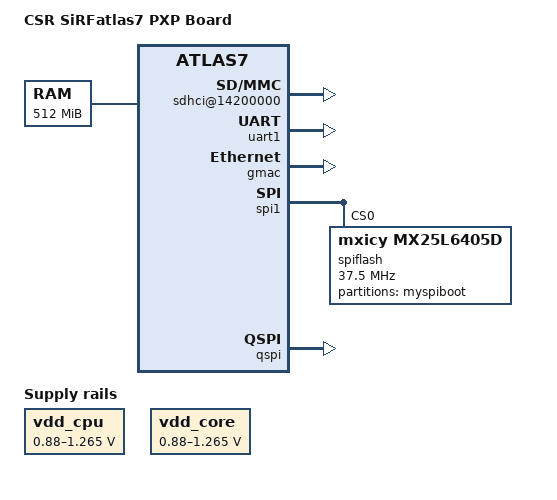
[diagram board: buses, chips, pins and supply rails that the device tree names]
/*
 * DTS file for CSR SiRFatlas7 Evaluation Board
 *
 * Copyright (c) 2015-2016, The Linux Foundation. All rights reserved.
 *
 * This program is free software; you can redistribute it and/or modify
 * it under the terms of the GNU General Public License version 2 and
 * only version 2 as published by the Free Software Foundation.
 *
 * This program is distributed in the hope that it will be useful,
 * but WITHOUT ANY WARRANTY; without even the implied warranty of
 * MERCHANTABILITY or FITNESS FOR A PARTICULAR PURPOSE.  See the
 * GNU General Public License for more details.
 */

/dts-v1/;

/include/ "atlas7.dtsi"


#include <dt-bindings/input/input.h>

/ {
	model = "CSR SiRFatlas7 PXP Board";
	compatible = "sirf,atlas7-pxp", "sirf,atlas7-cb", "sirf,atlas7";

	chosen {
		/* bootargs = "co
				initrd=0x43008000,0x500000"; */
		bootargs = "console=ttySiRF1,115200 earlyprintk";
	};

	memory {
		device_type = "memory";
		reg = <0x40000000 0x20000000>; /* 512M for PXP */
	};

	regulators {
		compatible = "simple-bus";
		#address-cells = <1>;
		#size-cells = <0>;

		vdd_cpu: pwm_regulator  {
			compatible = "pwm-regulator";
			pinctrl-names = "default";
			pinctrl-0 = <&pw_pwm_cpu_vol_pmx0>;
			pwms = <&pwm 2 60>;
			voltage-table = <1265000 0>,
				<1237542 4>,
				<1210038 8>,
				<1182534 12>,
				<1155030 16>,
				<1127526 20>,
				<1100022 24>,
				<1072518 28>,
				<1045014 32>,
				<1017510 36>,
				<990006 40>,
				<962502 44>,
				<934998 48>,
				<907494 52>,
				<879990 56>;
			regulator-min-microvolt = <879990>;
			regulator-max-microvolt = <1265000>;
			regulator-name = "vdd_cpu";
		};

		vdd_core: vdd_core {
			compatible = "pwm-regulator";
			pinctrl-names = "default";
			pinctrl-0 = <&pw_cko0_pmx0>;
			pwms = <&pwm 4 60>;
			voltage-table = <1265000 0>,
				<1237542 4>,
				<1210038 8>,
				<1182534 12>,
				<1155030 16>,
				<1127526 20>,
				<1100022 24>,
				<1072518 28>,
				<1045014 32>,
				<1017510 36>,
				<990006 40>,
				<962502 44>,
				<934998 48>,
				<907494 52>,
				<879990 56>;
			regulator-min-microvolt = <879990>;
			regulator-max-microvolt = <1265000>;
			regulator-name = "vdd_core";
		};

	};

	reserved-memory {
		#address-cells = <1>;
		#size-cells = <1>;
		ranges;

		/* global region for contiguous allocations */
		linux,cma {
			compatible = "shared-dma-pool";
			reusable;
			alloc-ranges = <0x49C00000 0x6000000>;
			size = <0x6000000>;
			alignment = <0x2000>;
			linux,cma-default;
		};

		ipc_mem0: ns_m3_mem@4fd00000 {
			compatible = "sirf,reserved-memory";
			reg = <0x4FD00000 0x10000>;
		};

		ipc_mem1: ns_kal_mem@4fd10000 {
			compatible = "sirf,reserved-memory";
			reg = <0x4FD10000 0x10000>;
		};

		nanddisk_reserved: nanddisk@46000000 {
			reg = <0x46000000 0x200000>;
			no-map;
		};

		jpeg_reserved: jpeg@57000000 {
			reg = <0x57000000 0x1800000>;
			no-map;
		};

		multimedia_reserved: multimedia@58800000 {
			reg = <0x58800000 0x2400000>;
			no-map;
		};

		uboot_reserved: uboot@5b800000 {
			reg = <0x5b800000 0x200000>;
			no-map;
		};

		cm3_reserved: cm3@4fe00000 {
			reg = <0x4fe00000 0x100000>;
			no-map;
		};
	};

	noc {
		gpum {
			sdr@0x13010000 {
				status = "disabled";
			};
		};
		audiom {
			timer@10dc0000 {
				status = "okay";
			};

			timerb@10dc8000 {
				status = "disabled";
			};

			usp2: usp@10d40000 {
			       status = "disabled";
			       compatible = "sirf,atlas7-usp-spi";
			       pinctrl-0 = <&audio_uart2_urfs_pmx0
					&audio_uart2_urxd_pmx0
					&audio_uart2_usclk_pmx0
					&audio_uart2_utfs_pmx0
					&audio_uart2_utxd_pmx0>;
			       pinctrl-names = "default";
			       fifosize = <512>;
				uspspiflash: mxicy@0{
					status = "okay";
					compatible = "mxicy,mx25l6405d";
					reg = <0>;
					spi-max-frequency = <37500000>;
					spi-cpha;
					spi-cpol;
					#address-cells = <1>;
					#size-cells = <1>;
					partitions@0 {
						label = "myspiboot";
						reg = <0x0 0x800000>;
					};
				};
			};

			pulsec@10d90000 {
				status = "disabled";
			};
			adc: adc@10d80000 {
				status = "disabled";
			};
			i2s: i2s@10d02000 {
				status = "disabled";
			};
			vip0@10db0000 {
				status = "disabled";
			};
			cvd@10db2000 {
				status = "disabled";
			};

		};

		mediam {
			nand@17050000 {
				memory-region = <&nanddisk_reserved>;
			};

			multimedia@15000000 {
				memory-region = <&multimedia_reserved>;
			};

			jpeg@17000000 {
				memory-region = <&jpeg_reserved>;
			};

		};

		vdifm {
			sdhci@14200000 {
				status = "okay";
				pinctrl-names = "default";
				pinctrl-0 = <&sd2_basic_pmx
						&sd2_cdb_pmx0
						&sd2_wpb_pmx0>;
			};

		};

		gnssm {
			uart1: uart@18020000 {
				status = "okay";
			};

			uart0: uart@18010000 {
				status = "disabled";
				pinctrl-0 = <&uart0_pmx>;
				pinctrl-names = "default";
				sirf,uart-has-rtscts;
			};

			uart2: uart@18030000 {
				status = "disabled";
				pinctrl-0 = <&uart2_cts_pmx0
						&uart2_rts_pmx0
						&uart2_rxd_pmx0
						&uart2_txd_pmx0>;
				pinctrl-names = "default";
			};

			uart3: uart@18040000 {
				status = "disabled";
			};

			uart5: uart@18060000 {
				status = "disabled";
			};

			gmac: eth@180b0000 {
				status = "okay";
				pinctrl-names = "default";
				pinctrl-0 = <&rg_eth_mac_pmx
					&rg_gmac_phy_intr_n_pmx
					&rg_rgmii_mac_pmx>;
			};

			spi1: spi@18200000 {
				status = "okay";
				compatible = "sirf,prima2-spi-slave";
				pinctrl-0 = <&sp1_spi_pmx>;
				pinctrl-names = "default";
				spiflash: mxicy@0{
					compatible = "mxicy,mx25l6405d";
					reg = <0>;
					spi-max-frequency = <37500000>;
					spi-cpha;
					spi-cpol;
					#address-cells = <1>;
					#size-cells = <1>;
					partitions@0 {
						label = "myspiboot";
						reg = <0x0 0x800000>;
					};
			       };
			};

		};

		rtcm {
			qspi: flash@188B0000 {
				status = "okay";
				pinctrl-names = "default";
				pinctrl-0 = <&sp0_qspi_pmx>;
				clock-rate = <20000000>;        /* 20MHz */
			};
			rtc-iobg@18840000 {
				pwrc@3000 {
					atlas7-gps {
					   status = "okay";
					   pinctrl-names = "default";
					   pinctrl-0 = <&gn_trg_spi_pmx0
						&gn_trg_pmx0>;
					};
				};
			};
		};

		ipc@13240000 {
			ns_m3_rproc@0 {
				memory-region = <&ipc_mem0>;
				status = "okay";
			};

			ns_m3_rproc@1 {
				status = "disabled";
			};

			ns_kal_rproc@0 {
				status = "disabled";
			};

			ns_kal_rproc@1 {
				status = "disabled";
			};
		};

		disp-iobg {

			lcd0@13100000 {
				status = "disabled";
			};
			vpp0@13110000 {
				status = "disabled";
			};
			lcd1@13120000 {
				status = "disabled";
			};
			vpp1@13130000 {
				status = "disabled";
			};
			lvds@10e10000 {
				status = "disabled";
			};
			g2d@17010000 {
				status = "disabled";
			};

		};

		graphics-iobg {
			graphics@12000000 {
				status = "disabled";
			};
		};
	};
};
